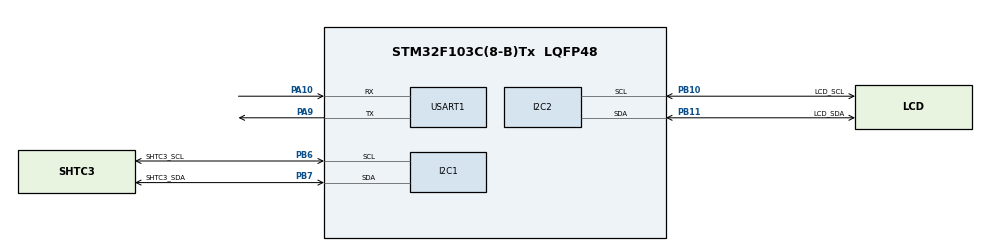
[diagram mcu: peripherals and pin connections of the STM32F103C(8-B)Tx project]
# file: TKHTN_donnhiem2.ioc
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Mcu.Family=STM32F1
Mcu.Name=STM32F103C(8-B)Tx
Mcu.Package=LQFP48
NVIC.PriorityGroup=NVIC_PRIORITYGROUP_4
NVIC.USART1_IRQn=true\:0\:0\:false\:false\:true\:true\:true\:true
PA10.Mode=Asynchronous
PA10.Signal=USART1_RX
PA13.Mode=Serial_Wire
PA13.Signal=SYS_JTMS-SWDIO
PA14.Mode=Serial_Wire
PA14.Signal=SYS_JTCK-SWCLK
PA9.Mode=Asynchronous
PA9.Signal=USART1_TX
PB10.GPIO_Label=LCD_SCL
PB10.Mode=I2C
PB10.Signal=I2C2_SCL
PB11.GPIO_Label=LCD_SDA
PB11.Mode=I2C
PB11.Signal=I2C2_SDA
PB6.GPIO_Label=SHTC3_SCL
PB6.Mode=I2C
PB6.Signal=I2C1_SCL
PB7.GPIO_Label=SHTC3_SDA
PB7.Mode=I2C
PB7.Signal=I2C1_SDA
ProjectManager.HeapSize=0x200
ProjectManager.StackSize=0x400
ProjectManager.TargetToolchain=STM32CubeIDE
RCC.APB1Freq_Value=8000000
RCC.APB2Freq_Value=8000000
USART1.VirtualMode=VM_ASYNC
board=custom

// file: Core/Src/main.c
/* USER CODE BEGIN Header */
/**
  ******************************************************************************
  * @file           : main.c
  * @brief          : Main program body
  ******************************************************************************
  * @attention
  *
  * Copyright (c) 2025 STMicroelectronics.
  * All rights reserved.
  *
  * This software is licensed under terms that can be found in the LICENSE file
  * in the root directory of this software component.
  * If no LICENSE file comes with this software, it is provided AS-IS.
  *
  ******************************************************************************
  */
/* USER CODE END Header */
#include "main.h"

/* USER CODE BEGIN Includes */
#include "CLCD_I2C.h"
#include "string.h"
#include "stdio.h"
/* USER CODE END Includes */

/* USER CODE BEGIN PTD */
typedef enum
{
	DISPLAY_TEMP,
	DISPLAY_HUMID,
	DISPLAY_ALL
} DisplayMode_t;

/* USER CODE END PTD */

I2C_HandleTypeDef hi2c1;
I2C_HandleTypeDef hi2c2;

UART_HandleTypeDef huart1;

/* USER CODE BEGIN PV */
volatile DisplayMode_t DisplayMode = DISPLAY_ALL;
CLCD_I2C_Name LCD1;
uint8_t rxData[5];

#define SHTC3_ADDRESS (0x70<<1)
uint8_t rev_buffer[6];
uint8_t wakeup_cmd[2] = {0x35, 0x17};
uint8_t measure_cmd[2] = {0x7C, 0xA2};
uint8_t sleep_cmd[2] = {0xB0, 0x98};
float temperature = 0.0f;
float humidity = 0.0f;

/* Scheduler Timing */
uint32_t scheduler_tick = 0;
uint32_t last_exec_time_measure = 0;
uint32_t last_exec_time_write_clcd = 0;
uint32_t last_exec_time_send_uart = 0;

/* Task Timing (in ms) */
#define TASK1_PERIOD 250
#define TASK2_PERIOD 5000
#define TASK3_PERIOD 1000
/* USER CODE END PV */

void SystemClock_Config(void);
static void MX_GPIO_Init(void);
static void MX_I2C1_Init(void);
static void MX_I2C2_Init(void);
static void MX_USART1_UART_Init(void);
/* USER CODE BEGIN PFP */
void measure();
void write_clcd();
void send_uart();
/* USER CODE END PFP */

/* USER CODE BEGIN 0 */
__weak void HAL_UART_RxCpltCallback(UART_HandleTypeDef *huart)
{
  /* Prevent unused argument(s) compilation warning */
  UNUSED(huart);
  if(huart->Instance == USART1){
	 // rxData[sizeof(rxData) - 1] = '\0';
	if ((rxData[0] == 't') && (rxData[1] == 'e') && (rxData[2] == 'm') && (rxData[3] == 'p'))
	{
		DisplayMode = DISPLAY_TEMP;
		printf("Change Display Mode to DISPLAY_TEMP\r\n\n");
		//memset(rxData, 0, sizeof(rxData));
	}
	else if ((rxData[0] == 'h') && (rxData[1] == 'u') && (rxData[2] == 'm') && (rxData[3] == 'i'))
	{
		DisplayMode = DISPLAY_HUMID;
		printf("Change Display Mode to DISPLAY_HUMI\r\n\n");
		//memset(rxData, 0, sizeof(rxData));
	}
	else if ((rxData[0] == 'b') && (rxData[1] == 'o') && (rxData[2] == 't') && (rxData[3] == 'h'))
	{
		DisplayMode = DISPLAY_ALL;
		printf("Change Display Mode to DISPLAY_ALL\r\n\n");
		//memset(rxData, 0, sizeof(rxData));
	}
	else
	{
		printf("Error Command Syntax\r\n\n");
	}
	HAL_UART_Receive_IT(&huart1, rxData, sizeof(rxData) - 1);
  }

  /* NOTE: This function should not be modified, when the callback is needed,
           the HAL_UART_RxCpltCallback could be implemented in the user file
   */
}

/* USER CODE END 0 */

int main(void)
{

  /* MCU Configuration--------------------------------------------------------*/

  /* Reset of all peripherals, Initializes the Flash interface and the Systick. */
  HAL_Init();

  /* Configure the system clock */
  SystemClock_Config();

  /* Initialize all configured peripherals */
  MX_GPIO_Init();
  MX_I2C1_Init();
  MX_I2C2_Init();
  MX_USART1_UART_Init();
  /* USER CODE BEGIN 2 */
  CLCD_I2C_Init(&LCD1, &hi2c2, 0x4E, 20, 4);
  CLCD_I2C_SetCursor(&LCD1,0,0);
  CLCD_I2C_WriteString(&LCD1,"Start");
  HAL_UART_Receive_IT(&huart1, rxData, sizeof(rxData) - 1);
  /* USER CODE END 2 */

  /* Infinite loop */
  /* USER CODE BEGIN WHILE */
  while (1)
  {
	  scheduler_tick = HAL_GetTick();

	  // Task 1: measure()
	  if ((scheduler_tick - last_exec_time_measure) >= TASK1_PERIOD) {
		  last_exec_time_measure = scheduler_tick;
		  measure();
	  }

	  // Task 2: write_clcd()
	  if ((scheduler_tick - last_exec_time_write_clcd) >= TASK2_PERIOD) {
		  last_exec_time_write_clcd = scheduler_tick;
		  write_clcd();
	  }

	  // Task 3: send_uart()
	  if ((scheduler_tick - last_exec_time_send_uart) >= TASK3_PERIOD) {
		  last_exec_time_send_uart = scheduler_tick;
		  send_uart();
	  }
    /* USER CODE END WHILE */

  }
}

void SystemClock_Config(void)
{
  RCC_OscInitTypeDef RCC_OscInitStruct = {0};
  RCC_ClkInitTypeDef RCC_ClkInitStruct = {0};

  /** Initializes the RCC Oscillators according to the specified parameters
  * in the RCC_OscInitTypeDef structure.
  */
  RCC_OscInitStruct.OscillatorType = RCC_OSCILLATORTYPE_HSI;
  RCC_OscInitStruct.HSIState = RCC_HSI_ON;
  RCC_OscInitStruct.HSICalibrationValue = RCC_HSICALIBRATION_DEFAULT;
  RCC_OscInitStruct.PLL.PLLState = RCC_PLL_NONE;
  if (HAL_RCC_OscConfig(&RCC_OscInitStruct) != HAL_OK)
  {
    Error_Handler();
  }

  /** Initializes the CPU, AHB and APB buses clocks
  */
  RCC_ClkInitStruct.ClockType = RCC_CLOCKTYPE_HCLK|RCC_CLOCKTYPE_SYSCLK
                              |RCC_CLOCKTYPE_PCLK1|RCC_CLOCKTYPE_PCLK2;
  RCC_ClkInitStruct.SYSCLKSource = RCC_SYSCLKSOURCE_HSI;
  RCC_ClkInitStruct.AHBCLKDivider = RCC_SYSCLK_DIV1;
  RCC_ClkInitStruct.APB1CLKDivider = RCC_HCLK_DIV1;
  RCC_ClkInitStruct.APB2CLKDivider = RCC_HCLK_DIV1;

  if (HAL_RCC_ClockConfig(&RCC_ClkInitStruct, FLASH_LATENCY_0) != HAL_OK)
  {
    Error_Handler();
  }
}

static void MX_I2C1_Init(void)
{

  hi2c1.Instance = I2C1;
  hi2c1.Init.ClockSpeed = 100000;
  hi2c1.Init.DutyCycle = I2C_DUTYCYCLE_2;
  hi2c1.Init.OwnAddress1 = 0;
  hi2c1.Init.AddressingMode = I2C_ADDRESSINGMODE_7BIT;
  hi2c1.Init.DualAddressMode = I2C_DUALADDRESS_DISABLE;
  hi2c1.Init.OwnAddress2 = 0;
  hi2c1.Init.GeneralCallMode = I2C_GENERALCALL_DISABLE;
  hi2c1.Init.NoStretchMode = I2C_NOSTRETCH_DISABLE;
  if (HAL_I2C_Init(&hi2c1) != HAL_OK)
  {
    Error_Handler();
  }

}

static void MX_I2C2_Init(void)
{

  hi2c2.Instance = I2C2;
  hi2c2.Init.ClockSpeed = 100000;
  hi2c2.Init.DutyCycle = I2C_DUTYCYCLE_2;
  hi2c2.Init.OwnAddress1 = 0;
  hi2c2.Init.AddressingMode = I2C_ADDRESSINGMODE_7BIT;
  hi2c2.Init.DualAddressMode = I2C_DUALADDRESS_DISABLE;
  hi2c2.Init.OwnAddress2 = 0;
  hi2c2.Init.GeneralCallMode = I2C_GENERALCALL_DISABLE;
  hi2c2.Init.NoStretchMode = I2C_NOSTRETCH_DISABLE;
  if (HAL_I2C_Init(&hi2c2) != HAL_OK)
  {
    Error_Handler();
  }

}

static void MX_USART1_UART_Init(void)
{

  huart1.Instance = USART1;
  huart1.Init.BaudRate = 115200;
  huart1.Init.WordLength = UART_WORDLENGTH_8B;
  huart1.Init.StopBits = UART_STOPBITS_1;
  huart1.Init.Parity = UART_PARITY_NONE;
  huart1.Init.Mode = UART_MODE_TX_RX;
  huart1.Init.HwFlowCtl = UART_HWCONTROL_NONE;
  huart1.Init.OverSampling = UART_OVERSAMPLING_16;
  if (HAL_UART_Init(&huart1) != HAL_OK)
  {
    Error_Handler();
  }

}

static void MX_GPIO_Init(void)
{

  /* GPIO Ports Clock Enable */
  __HAL_RCC_GPIOB_CLK_ENABLE();
  __HAL_RCC_GPIOA_CLK_ENABLE();

}

/* USER CODE BEGIN 4 */
void measure() {
    uint16_t hex_ther, hex_moisture;
    HAL_I2C_Master_Transmit(&hi2c1, SHTC3_ADDRESS, wakeup_cmd, 2, 500);
    HAL_Delay(1);
    HAL_I2C_Master_Transmit(&hi2c1, SHTC3_ADDRESS, measure_cmd, 2, 500);
    HAL_Delay(15);
    HAL_I2C_Master_Receive(&hi2c1, SHTC3_ADDRESS, rev_buffer, 6, 500);
    HAL_I2C_Master_Transmit(&hi2c1, SHTC3_ADDRESS, sleep_cmd, 2, 500);

    hex_ther = (rev_buffer[0] << 8) | rev_buffer[1];
    hex_moisture = (rev_buffer[3] << 8) | rev_buffer[4];

    temperature = -45.0f + 175.0f * (float)hex_ther / 65535.0f;
    humidity = 100.0f * (float)hex_moisture / 65535.0f;
}

void write_clcd(){
// char temp_str[16];
  char lcd_str[16];
  switch(DisplayMode){
  case DISPLAY_ALL:
	sprintf(lcd_str, "Humidity: %.2f%%", humidity);
	CLCD_I2C_SetCursor(&LCD1,0,1);
	CLCD_I2C_WriteString(&LCD1,lcd_str);
	sprintf(lcd_str, "Temp: %.2f C   ",temperature);
	CLCD_I2C_SetCursor(&LCD1,0,0);
	CLCD_I2C_WriteString(&LCD1,lcd_str);
	break;
  case DISPLAY_HUMID:
	sprintf(lcd_str, "Humidity: %.2f%%", humidity);
	CLCD_I2C_SetCursor(&LCD1,0,0);
	CLCD_I2C_WriteString(&LCD1,lcd_str);
	CLCD_I2C_SetCursor(&LCD1,0,1);
	CLCD_I2C_WriteString(&LCD1,"                ");
	break;
  case DISPLAY_TEMP:
	sprintf(lcd_str, "Temp: %.2f C   ",temperature);
	CLCD_I2C_SetCursor(&LCD1,0,0);
	CLCD_I2C_WriteString(&LCD1,lcd_str);
	CLCD_I2C_SetCursor(&LCD1,0,1);
	CLCD_I2C_WriteString(&LCD1,"                ");
	break;
  }
}

void send_uart() {
    char data[64];
    sprintf(data, "Temperature: %.2f C, Humidity: %.2f%%\r\n", temperature, humidity);
    HAL_UART_Transmit(&huart1, (uint8_t*)data, strlen(data), 1000);
}
/* USER CODE END 4 */

void Error_Handler(void)
{
  __disable_irq();
  while (1)
  {
  }
}
